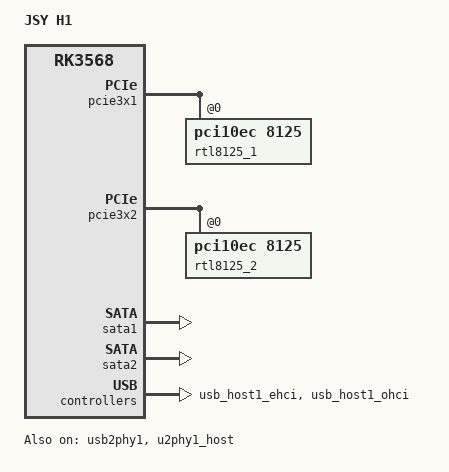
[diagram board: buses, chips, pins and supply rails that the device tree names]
/dts-v1/;

#include "rk3568-linkease.dtsi"
#include "rk3568-linkease-pcie30.dtsi"
#include "../rockchip-drm-vvop.dtsi"

/ {
	compatible = "jsy,h1", "rockchip,rk3568";
	model = "JSY H1";
};

/* 2.5G ETH */
&pcie3x1 {
	pcie@10 {
		reg = <0x00100000 0 0 0 0>;
		#address-cells = <3>;
		#size-cells = <2>;

		rtl8125_1: pcie-eth@10,0 {
			compatible = "pci10ec,8125";
			reg = <0x000000 0 0 0 0>;

			realtek,led-data = <0x22b 0 0 0>;
		};
	};
};

/* 2.5G ETH */
&pcie3x2 {
	pcie@20 {
		reg = <0x00200000 0 0 0 0>;
		#address-cells = <3>;
		#size-cells = <2>;

		rtl8125_2: pcie-eth@20,0 {
			compatible = "pci10ec,8125";
			reg = <0x000000 0 0 0 0>;

			realtek,led-data = <0x22b 0 0 0>;
		};
	};
};

// MULTI_PHY1
&combphy1_usq {
	rockchip,dis-u3otg1-port;
};

&sata1 {
	status = "okay";
};

// MULTI_PHY2
&sata2 {
	status = "okay";
};

// USB2 PHY1 (for USB2.0 HOST)
&usb2phy1 {
	status = "okay";
};

// USB2 PHY1 port1 USB2_HOST3_D
&u2phy1_host {
	status = "okay";
};

// USB2_HOST3
&usb_host1_ehci {
	status = "okay";
};

&usb_host1_ohci {
	status = "okay";
};
